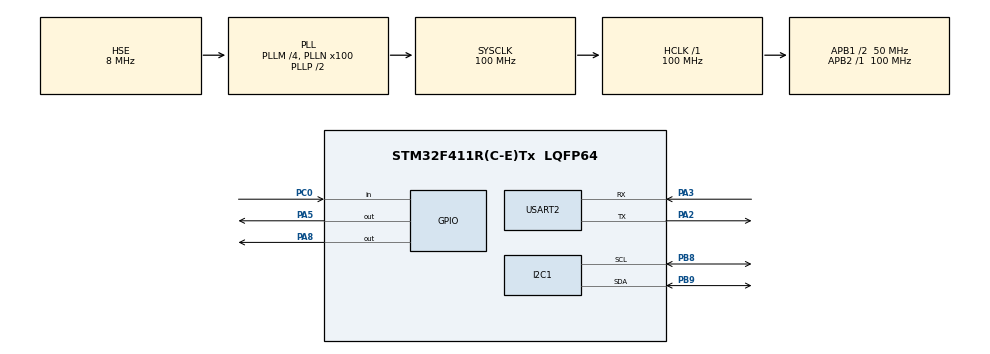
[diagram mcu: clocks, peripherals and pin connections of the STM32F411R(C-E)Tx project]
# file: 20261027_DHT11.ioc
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Mcu.Family=STM32F4
Mcu.Name=STM32F411R(C-E)Tx
Mcu.Package=LQFP64
NVIC.PriorityGroup=NVIC_PRIORITYGROUP_4
PA13.Mode=Serial_Wire
PA13.Signal=SYS_JTMS-SWDIO
PA14.Mode=Serial_Wire
PA14.Signal=SYS_JTCK-SWCLK
PA2.Mode=Asynchronous
PA2.Signal=USART2_TX
PA3.Mode=Asynchronous
PA3.Signal=USART2_RX
PA5.Signal=GPIO_Output
PA8.Signal=GPIO_Output
PB8.Mode=I2C
PB8.Signal=I2C1_SCL
PB9.Mode=I2C
PB9.Signal=I2C1_SDA
PC0.Signal=GPIO_Input
PH0\ -\ OSC_IN.Mode=HSE-External-Oscillator
PH0\ -\ OSC_IN.Signal=RCC_OSC_IN
PH1\ -\ OSC_OUT.Mode=HSE-External-Oscillator
PH1\ -\ OSC_OUT.Signal=RCC_OSC_OUT
ProjectManager.HeapSize=0x200
ProjectManager.StackSize=0x400
ProjectManager.TargetToolchain=STM32CubeIDE
RCC.48MHZClocksFreq_Value=50000000
RCC.AHBFreq_Value=100000000
RCC.APB1CLKDivider=RCC_HCLK_DIV2
RCC.APB1Freq_Value=50000000
RCC.APB1TimFreq_Value=100000000
RCC.APB2Freq_Value=100000000
RCC.APB2TimFreq_Value=100000000
RCC.CortexFreq_Value=100000000
RCC.HCLKFreq_Value=100000000
RCC.HSE_VALUE=8000000
RCC.HSI_VALUE=16000000
RCC.LSE_VALUE=32768
RCC.PLLM=4
RCC.PLLN=100
RCC.PLLSourceVirtual=RCC_PLLSOURCE_HSE
RCC.SYSCLKFreq_VALUE=100000000
RCC.SYSCLKSource=RCC_SYSCLKSOURCE_PLLCLK
RCC.VCOOutputFreq_Value=200000000
USART2.VirtualMode=VM_ASYNC
board=custom

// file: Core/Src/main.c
/* USER CODE BEGIN Header */
/**
 ******************************************************************************
 * @file           : main.c
 * @brief          : Main program body
 ******************************************************************************
 * @attention
 *
 * Copyright (c) 2026 STMicroelectronics.
 * All rights reserved.
 *
 * This software is licensed under terms that can be found in the LICENSE file
 * in the root directory of this software component.
 * If no LICENSE file comes with this software, it is provided AS-IS.
 *
 ******************************************************************************
 */
/* USER CODE END Header */
#include "main.h"

/* USER CODE BEGIN Includes */
#include <stdio.h>
#include "driver/DHT11/DHT11.h"
#include "stm32f4xx_hal.h"
/* USER CODE END Includes */

I2C_HandleTypeDef hi2c1;

UART_HandleTypeDef huart2;

void SystemClock_Config(void);
static void MX_GPIO_Init(void);
static void MX_USART2_UART_Init(void);
static void MX_I2C1_Init(void);

/* USER CODE BEGIN 0 */

int __io_putchar(int ch) {

	HAL_UART_Transmit(&huart2, (uint8_t*) &ch, 1, HAL_MAX_DELAY);
	return ch;
}

void power_indicator() {
	static uint32_t prev_time = 0;
	if (HAL_GetTick() - prev_time < 200) {
		return;
	}
	prev_time = HAL_GetTick();

	HAL_GPIO_TogglePin(GPIOA, GPIO_PIN_5);
}

/* USER CODE END 0 */

int main(void)
{

  /* MCU Configuration--------------------------------------------------------*/

  /* Reset of all peripherals, Initializes the Flash interface and the Systick. */
  HAL_Init();

  /* Configure the system clock */
  SystemClock_Config();

  /* Initialize all configured peripherals */
  MX_GPIO_Init();
  MX_USART2_UART_Init();
  MX_I2C1_Init();
  /* USER CODE BEGIN 2 */
	printf("Hello STM32!\n");
  /* USER CODE END 2 */

  /* Infinite loop */
  /* USER CODE BEGIN WHILE */

	dht11_init(GPIOC, GPIO_PIN_8);

	dht11_data_t dht_data;

	while (1) {

		//power_indicator();

		if(dht11_read(&dht_data) != DHT11_OK){
			printf("DHT11_ERROR!\n");
		}else{
			printf("temp %2u. %2u humid %2u.%2u %% \n", dht_data.t_int, dht_data.t_dec,
							dht_data.h_int, dht_data.h_dec);
		}

		HAL_Delay(3000);
    /* USER CODE END WHILE */

	}
}

void SystemClock_Config(void)
{
  RCC_OscInitTypeDef RCC_OscInitStruct = {0};
  RCC_ClkInitTypeDef RCC_ClkInitStruct = {0};

  /** Configure the main internal regulator output voltage
  */
  __HAL_RCC_PWR_CLK_ENABLE();
  __HAL_PWR_VOLTAGESCALING_CONFIG(PWR_REGULATOR_VOLTAGE_SCALE1);

  /** Initializes the RCC Oscillators according to the specified parameters
  * in the RCC_OscInitTypeDef structure.
  */
  RCC_OscInitStruct.OscillatorType = RCC_OSCILLATORTYPE_HSE;
  RCC_OscInitStruct.HSEState = RCC_HSE_ON;
  RCC_OscInitStruct.PLL.PLLState = RCC_PLL_ON;
  RCC_OscInitStruct.PLL.PLLSource = RCC_PLLSOURCE_HSE;
  RCC_OscInitStruct.PLL.PLLM = 4;
  RCC_OscInitStruct.PLL.PLLN = 100;
  RCC_OscInitStruct.PLL.PLLP = RCC_PLLP_DIV2;
  RCC_OscInitStruct.PLL.PLLQ = 4;
  if (HAL_RCC_OscConfig(&RCC_OscInitStruct) != HAL_OK)
  {
    Error_Handler();
  }

  /** Initializes the CPU, AHB and APB buses clocks
  */
  RCC_ClkInitStruct.ClockType = RCC_CLOCKTYPE_HCLK|RCC_CLOCKTYPE_SYSCLK
                              |RCC_CLOCKTYPE_PCLK1|RCC_CLOCKTYPE_PCLK2;
  RCC_ClkInitStruct.SYSCLKSource = RCC_SYSCLKSOURCE_PLLCLK;
  RCC_ClkInitStruct.AHBCLKDivider = RCC_SYSCLK_DIV1;
  RCC_ClkInitStruct.APB1CLKDivider = RCC_HCLK_DIV2;
  RCC_ClkInitStruct.APB2CLKDivider = RCC_HCLK_DIV1;

  if (HAL_RCC_ClockConfig(&RCC_ClkInitStruct, FLASH_LATENCY_3) != HAL_OK)
  {
    Error_Handler();
  }
}

static void MX_I2C1_Init(void)
{

  hi2c1.Instance = I2C1;
  hi2c1.Init.ClockSpeed = 100000;
  hi2c1.Init.DutyCycle = I2C_DUTYCYCLE_2;
  hi2c1.Init.OwnAddress1 = 0;
  hi2c1.Init.AddressingMode = I2C_ADDRESSINGMODE_7BIT;
  hi2c1.Init.DualAddressMode = I2C_DUALADDRESS_DISABLE;
  hi2c1.Init.OwnAddress2 = 0;
  hi2c1.Init.GeneralCallMode = I2C_GENERALCALL_DISABLE;
  hi2c1.Init.NoStretchMode = I2C_NOSTRETCH_DISABLE;
  if (HAL_I2C_Init(&hi2c1) != HAL_OK)
  {
    Error_Handler();
  }

}

static void MX_USART2_UART_Init(void)
{

  huart2.Instance = USART2;
  huart2.Init.BaudRate = 115200;
  huart2.Init.WordLength = UART_WORDLENGTH_8B;
  huart2.Init.StopBits = UART_STOPBITS_1;
  huart2.Init.Parity = UART_PARITY_NONE;
  huart2.Init.Mode = UART_MODE_TX_RX;
  huart2.Init.HwFlowCtl = UART_HWCONTROL_NONE;
  huart2.Init.OverSampling = UART_OVERSAMPLING_16;
  if (HAL_UART_Init(&huart2) != HAL_OK)
  {
    Error_Handler();
  }

}

static void MX_GPIO_Init(void)
{
  GPIO_InitTypeDef GPIO_InitStruct = {0};

  /* GPIO Ports Clock Enable */
  __HAL_RCC_GPIOH_CLK_ENABLE();
  __HAL_RCC_GPIOC_CLK_ENABLE();
  __HAL_RCC_GPIOA_CLK_ENABLE();
  __HAL_RCC_GPIOB_CLK_ENABLE();

  /*Configure GPIO pin Output Level */
  HAL_GPIO_WritePin(GPIOA, GPIO_PIN_5|GPIO_PIN_8, GPIO_PIN_RESET);

  /*Configure GPIO pin : PC0 */
  GPIO_InitStruct.Pin = GPIO_PIN_0;
  GPIO_InitStruct.Mode = GPIO_MODE_INPUT;
  GPIO_InitStruct.Pull = GPIO_NOPULL;
  HAL_GPIO_Init(GPIOC, &GPIO_InitStruct);

  /*Configure GPIO pins : PA5 PA8 */
  GPIO_InitStruct.Pin = GPIO_PIN_5|GPIO_PIN_8;
  GPIO_InitStruct.Mode = GPIO_MODE_OUTPUT_PP;
  GPIO_InitStruct.Pull = GPIO_NOPULL;
  GPIO_InitStruct.Speed = GPIO_SPEED_FREQ_LOW;
  HAL_GPIO_Init(GPIOA, &GPIO_InitStruct);

}

void Error_Handler(void)
{
	__disable_irq();
	while (1) {
	}
}
